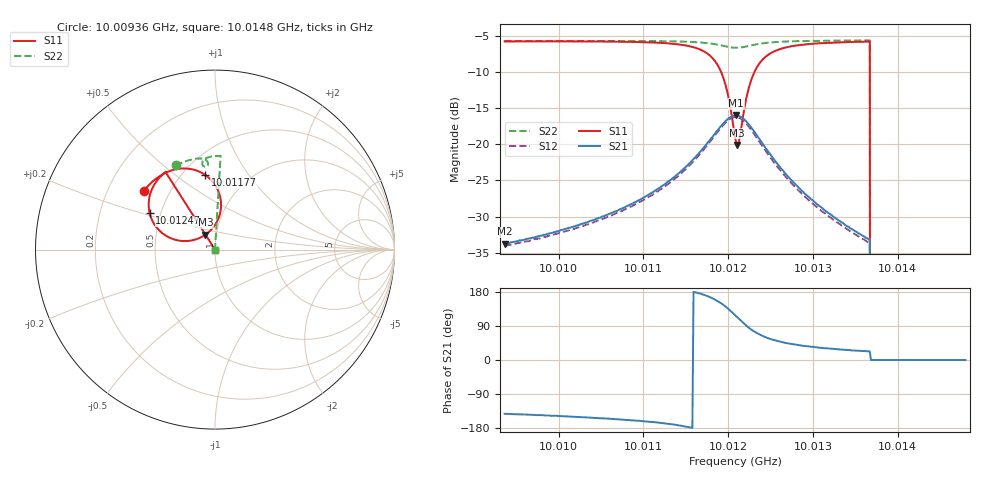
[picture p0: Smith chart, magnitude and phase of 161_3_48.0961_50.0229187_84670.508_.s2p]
#  HZ  S  RI  R  50.00
! Rohde & Schwarz Vector Network Analyzer
! Rohde-Schwarz,ZNB20-2Port,1311601062101988,3.16
! Created: UTC 12/23/2023, 3:50:46 AM
! freq[Hz]  re:S11  im:S11  re:S21  im:S21  re:S12  im:S12  re:S22  im:S22
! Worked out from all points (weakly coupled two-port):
!   401 points, 10.00936 GHz to 10.0148 GHz, reference 50 ohm
!   highest |S21| = -16.01 dB at 10.01209 GHz (marker M1); lowest = -33.8 dB at 10.00936 GHz (marker M2)
!   lowest |S11| = -20.1 dB at 10.01211 GHz (marker M3), VSWR 1.22, Z = 44.3 + j7.41 ohm
!   |S11| at or under -10 dB: 10.01192 GHz to 10.01231 GHz (393.6 kHz wide, 0.00393 % of centre); 10.01367 GHz to end of sweep
!   |S22| runs from - to -5.6 dB; largest |S21 - S12| = 0.0083
!   S11 on the Smith chart (normalised r, x): 10.00936 GHz: 0.36, +0.32; 10.01177 GHz: 0.64, +0.65; 10.01247 GHz: 0.43, +0.21; 10.0148 GHz: 1.00, +0.00
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1.0009363e10  -0.3977 0.3264  -0.0161 -0.0127  -0.0149 -0.0129  -0.2195 0.4688
1.0010273e10  -0.3428 0.3834  -0.0246 -0.0136  -0.023 -0.0144  -0.1636 0.4922
1.0011184e10  -0.243 0.4411  -0.0481 -0.0125  -0.0458 -0.0144  -0.1001 0.5069
1.001151e10  -0.1652 0.4523  -0.0705 -0.00497  -0.0677 -0.00828  -0.0729 0.5069
1.0011768e10  -0.053 0.415  -0.1017 0.0224  -0.0996 0.0167  -0.0486 0.4974
1.0011863e10  -0.00135 0.3627  -0.1128 0.048  -0.112 0.0408  -0.0411 0.4884
1.0011945e10  0.0306 0.2849  -0.1148 0.0796  -0.1156 0.0725  -0.0387 0.4776
1.0011999e10  0.031 0.2154  -0.1068 0.1054  -0.1084 0.0984  -0.0407 0.4698
1.0012081e10  -0.0222 0.1096  -0.0748 0.1394  -0.0787 0.1326  -0.0505 0.4622
1.0012094e10  -0.0373 0.0954  -0.0677 0.143  -0.0708 0.1369  -0.0528 0.4617
1.0012108e10  -0.0538 0.0828  -0.0605 0.146  -0.0637 0.1399  -0.055 0.4617
1.0012135e10  -0.0902 0.063  -0.0449 0.1496  -0.0479 0.144  -0.0593 0.4625
1.0012189e10  -0.1684 0.0475  -0.0139 0.1479  -0.0183 0.1426  -0.0663 0.4671
1.0012285e10  -0.2798 0.0816  0.0256 0.1252  0.0201 0.1213  -0.0711 0.4799
1.0012366e10  -0.3343 0.1352  0.041 0.1012  0.0357 0.0984  -0.0685 0.4905
1.0012475e10  -0.3641 0.2029  0.048 0.0743  0.0428 0.0729  -0.061 0.5009
1.0012706e10  -0.3638 0.2993  0.0432 0.0414  0.0393 0.0416  -0.0414 0.5129
1.0012991e10  -0.3378 0.3627  0.0338 0.0236  0.0311 0.0238  -0.0181 0.5187
1.0013643e10  -0.2783 0.431  0.0206 0.00862  0.019 0.00932  0.0294 0.5217
1.0013711e10  0 0  0 0  0 0  0 0
1.0013902e10  0 0  0 0  0 0  0 0
1.0014799e10  0 0  0 0  0 0  0 0
